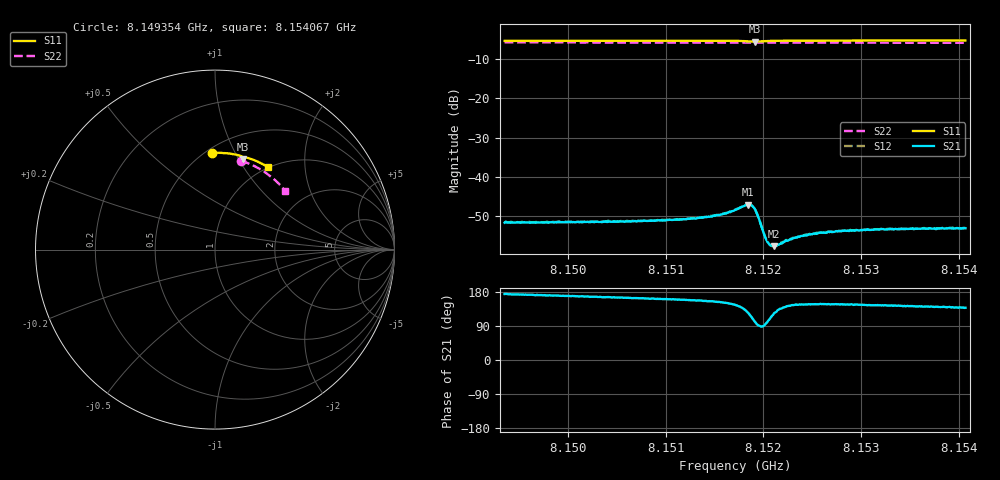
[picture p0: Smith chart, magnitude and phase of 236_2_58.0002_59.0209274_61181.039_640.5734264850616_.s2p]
#  HZ  S  RI  R  50.00
! Rohde & Schwarz Vector Network Analyzer
! Rohde-Schwarz,ZNB20-2Port,1311601062101988,3.16
! Created: UTC 3/21/2024, 1:00:52 AM
! freq[Hz]  re:S11  im:S11  re:S21  im:S21  re:S12  im:S12  re:S22  im:S22
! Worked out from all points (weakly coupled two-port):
!   401 points, 8.149354 GHz to 8.154067 GHz, reference 50 ohm
!   highest |S21| = -47.07 dB at 8.15184 GHz (marker M1); lowest = -57.6 dB at 8.152111 GHz (marker M2)
!   lowest |S11| = -5.5 dB at 8.151911 GHz (marker M3), VSWR 3.24, Z = 37.3 + j52.2 ohm
!   |S11| at or under -10 dB: nowhere
!   |S22| runs from -5.9 to -5.7 dB; largest |S21 - S12| = 0.00011
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8.1493541e9  -0.0152 0.5387  -0.00261 0.000268  -0.00262 0.000332  0.1456 0.4949
8.1501436e9  0.0402 0.5388  -0.0026 0.000548  -0.00264 0.00062  0.1939 0.477
8.150933e9  0.0953 0.5329  -0.00266 0.000925  -0.00265 0.000946  0.2395 0.4547
8.1511569e9  0.1108 0.5302  -0.00269 0.00104  -0.00268 0.00106  0.2521 0.4478
8.1514515e9  0.132 0.5253  -0.00283 0.0013  -0.00284 0.00138  0.2684 0.4378
8.1516046e9  0.1434 0.5218  -0.003 0.00166  -0.003 0.00172  0.2766 0.4323
8.1517107e9  0.1518 0.518  -0.00314 0.00214  -0.00313 0.0022  0.2823 0.4283
8.1518403e9  0.1594 0.5084  -0.00257 0.00361  -0.00253 0.00367  0.2889 0.4234
8.1518756e9  0.1585 0.5054  -0.00183 0.00399  -0.00179 0.00403  0.2904 0.4218
8.151911e9  0.1558 0.5044  -0.000827 0.00389  -0.000771 0.00388  0.2922 0.4206
8.1519345e9  0.1545 0.5054  -0.000274 0.00341  -0.000264 0.00344  0.2933 0.4199
8.1520052e9  0.1566 0.511  -2.55e-06 0.00192  -9.23e-06 0.00191  0.2971 0.4173
8.1520406e9  0.1597 0.5127  -0.000259 0.00148  -0.000245 0.0015  0.2989 0.4161
8.1520759e9  0.1629 0.5133  -0.00051 0.00126  -0.000496 0.00124  0.3008 0.4149
8.1521113e9  0.1662 0.5136  -0.000734 0.00109  -0.000708 0.00113  0.3025 0.4136
8.1521349e9  0.1682 0.5136  -0.000808 0.00106  -0.000835 0.00105  0.3037 0.4126
8.1522998e9  0.1814 0.5112  -0.00135 0.000947  -0.00136 0.000996  0.3123 0.406
8.1524176e9  0.19 0.5086  -0.0015 0.000994  -0.00153 0.000984  0.3182 0.4012
8.1525001e9  0.1957 0.5068  -0.00156 0.00102  -0.00157 0.00106  0.3222 0.398
8.15283e9  0.2181 0.4986  -0.00173 0.00113  -0.00171 0.0012  0.338 0.384
8.1532896e9  0.2474 0.4853  -0.00174 0.00128  -0.00176 0.00133  0.3591 0.3637
8.1540672e9  0.2948 0.4595  -0.00165 0.00149  -0.00167 0.0015  0.3915 0.3265
